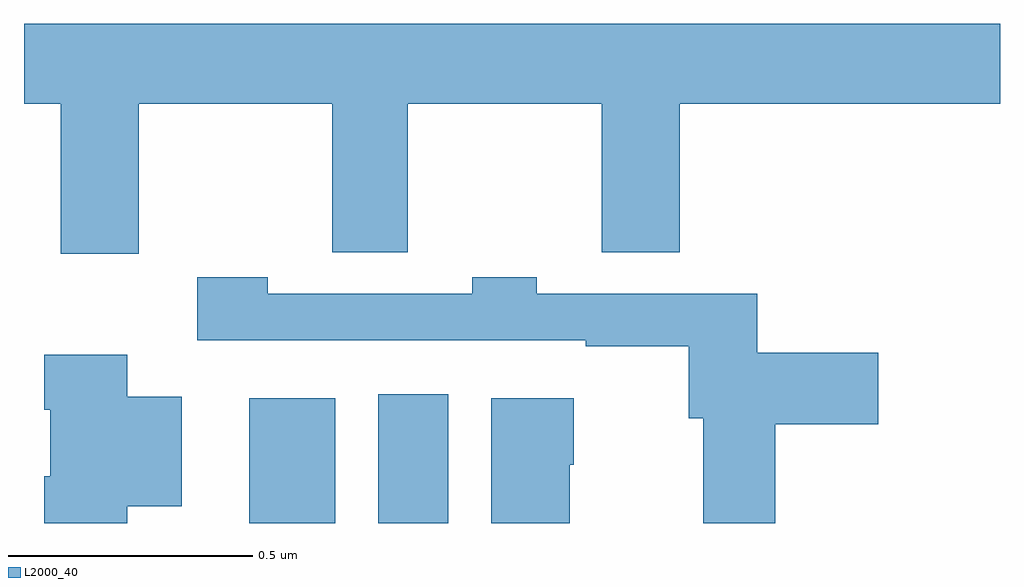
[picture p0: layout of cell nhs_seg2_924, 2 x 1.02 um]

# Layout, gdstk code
import gdstk
lib = gdstk.Library(unit=1e-6, precision=1e-09)
def R(c, l, rs):  # rectangles x0, y0, x1, y1
    for r in rs: c.add(gdstk.rectangle(r[:2], r[2:], *l))
def P(c, l, *ps):  # polygons
    for p in ps: c.add(gdstk.Polygon(p, *l))
L2000_40 = (2000, 40)

nhs_seg2_924 = lib.new_cell('nhs_seg2_924')
R(nhs_seg2_924, L2000_40, [(122.462,622.8,122.638,623.056), (122.726,622.8,122.869,623.065)])
P(nhs_seg2_924, L2000_40, [(122.235,623.66),(122.632,623.66),(122.632,623.356),(122.786,623.356),(122.786,623.66),(123.184,623.66),(123.184,623.356),(123.344,623.356),(123.344,623.66),(124,623.66),(124,623.824),(122,623.824),(122,623.66),(122.075,623.66),(122.075,623.352),(122.235,623.352)],
  [(123.539,623.003),(123.751,623.003),(123.751,623.15),(123.503,623.15),(123.503,623.271),(123.051,623.271),(123.051,623.304),(122.919,623.304),(122.919,623.271),(122.499,623.271),(122.499,623.304),(122.355,623.304),(122.355,623.175),(123.151,623.175),(123.151,623.163),(123.362,623.163),(123.362,623.015),(123.392,623.015),(123.392,622.8),(123.539,622.8)],
  [(122.212,622.835),(122.323,622.835),(122.323,623.059),(122.212,623.059),(122.212,623.146),(122.042,623.146),(122.042,623.033),(122.054,623.033),(122.054,622.897),(122.042,622.897),(122.042,622.8),(122.212,622.8)],
  [(123.118,622.92),(123.127,622.92),(123.127,623.056),(122.957,623.056),(122.957,622.8),(123.118,622.8)])

lib.write_gds('nhs_seg2_924.gds')
